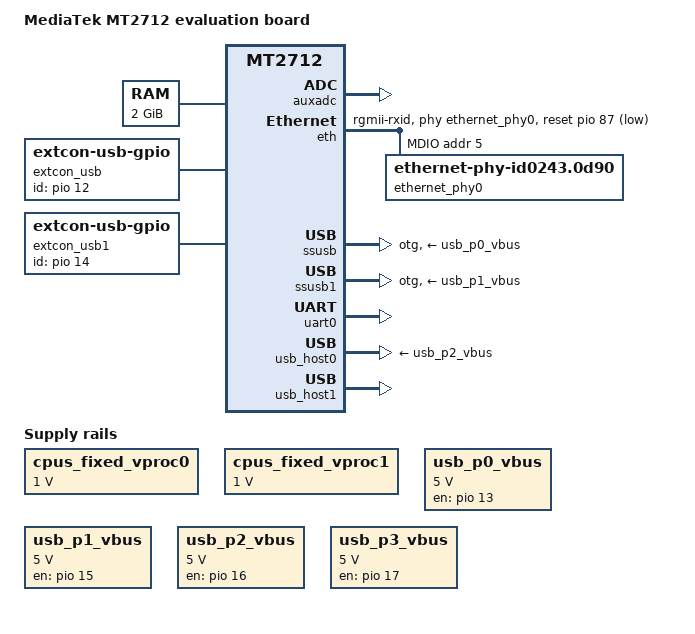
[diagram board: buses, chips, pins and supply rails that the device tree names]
/*
 * Copyright (c) 2017 MediaTek Inc.
 * Author: YT Shen <yt.shen@mediatek.com>
 *
 * SPDX-License-Identifier: (GPL-2.0 OR MIT)
 */

/dts-v1/;
#include <dt-bindings/gpio/gpio.h>
#include "mt2712e.dtsi"

/ {
	model = "MediaTek MT2712 evaluation board";
	compatible = "mediatek,mt2712-evb", "mediatek,mt2712";

	aliases {
		serial0 = &uart0;
	};

	memory@40000000 {
		device_type = "memory";
		reg = <0 0x40000000 0 0x80000000>;
	};

	chosen {
		stdout-path = "serial0:921600n8";
	};

	cpus_fixed_vproc0: fixedregulator@0 {
		compatible = "regulator-fixed";
		regulator-name = "vproc_buck0";
		regulator-min-microvolt = <1000000>;
		regulator-max-microvolt = <1000000>;
	};

	cpus_fixed_vproc1: fixedregulator@1 {
		compatible = "regulator-fixed";
		regulator-name = "vproc_buck1";
		regulator-min-microvolt = <1000000>;
		regulator-max-microvolt = <1000000>;
	};

	extcon_usb: extcon_iddig {
		compatible = "linux,extcon-usb-gpio";
		id-gpio = <&pio 12 GPIO_ACTIVE_HIGH>;
	};

	extcon_usb1: extcon_iddig1 {
		compatible = "linux,extcon-usb-gpio";
		id-gpio = <&pio 14 GPIO_ACTIVE_HIGH>;
	};

	usb_p0_vbus: regulator@2 {
		compatible = "regulator-fixed";
		regulator-name = "p0_vbus";
		regulator-min-microvolt = <5000000>;
		regulator-max-microvolt = <5000000>;
		gpio = <&pio 13 GPIO_ACTIVE_HIGH>;
		enable-active-high;
	};

	usb_p1_vbus: regulator@3 {
		compatible = "regulator-fixed";
		regulator-name = "p1_vbus";
		regulator-min-microvolt = <5000000>;
		regulator-max-microvolt = <5000000>;
		gpio = <&pio 15 GPIO_ACTIVE_HIGH>;
		enable-active-high;
	};

	usb_p2_vbus: regulator@4 {
		compatible = "regulator-fixed";
		regulator-name = "p2_vbus";
		regulator-min-microvolt = <5000000>;
		regulator-max-microvolt = <5000000>;
		gpio = <&pio 16 GPIO_ACTIVE_HIGH>;
		enable-active-high;
	};

	usb_p3_vbus: regulator@5 {
		compatible = "regulator-fixed";
		regulator-name = "p3_vbus";
		regulator-min-microvolt = <5000000>;
		regulator-max-microvolt = <5000000>;
		gpio = <&pio 17 GPIO_ACTIVE_HIGH>;
		enable-active-high;
		regulator-always-on;
	};

};

&auxadc {
	status = "okay";
};

&cpu0 {
	proc-supply = <&cpus_fixed_vproc0>;
};

&cpu1 {
	proc-supply = <&cpus_fixed_vproc0>;
};

&cpu2 {
	proc-supply = <&cpus_fixed_vproc1>;
};

&eth {
	phy-mode = "rgmii-rxid";
	phy-handle = <&ethernet_phy0>;
	mediatek,tx-delay-ps = <1530>;
	snps,reset-gpio = <&pio 87 GPIO_ACTIVE_LOW>;
	snps,reset-delays-us = <0 10000 10000>;
	pinctrl-names = "default", "sleep";
	pinctrl-0 = <&eth_default>;
	pinctrl-1 = <&eth_sleep>;
	status = "okay";

	mdio {
		compatible = "snps,dwmac-mdio";
		#address-cells = <1>;
		#size-cells = <0>;
		ethernet_phy0: ethernet-phy@5 {
			compatible = "ethernet-phy-id0243.0d90";
			reg = <0x5>;
		};
	};
};

&pio {
	eth_default: eth_default {
		tx_pins {
			pinmux = <MT2712_PIN_71_GBE_TXD3__FUNC_GBE_TXD3>,
				 <MT2712_PIN_72_GBE_TXD2__FUNC_GBE_TXD2>,
				 <MT2712_PIN_73_GBE_TXD1__FUNC_GBE_TXD1>,
				 <MT2712_PIN_74_GBE_TXD0__FUNC_GBE_TXD0>,
				 <MT2712_PIN_75_GBE_TXC__FUNC_GBE_TXC>,
				 <MT2712_PIN_76_GBE_TXEN__FUNC_GBE_TXEN>;
			drive-strength = <MTK_DRIVE_8mA>;
		};
		rx_pins {
			pinmux = <MT2712_PIN_78_GBE_RXD3__FUNC_GBE_RXD3>,
				 <MT2712_PIN_79_GBE_RXD2__FUNC_GBE_RXD2>,
				 <MT2712_PIN_80_GBE_RXD1__FUNC_GBE_RXD1>,
				 <MT2712_PIN_81_GBE_RXD0__FUNC_GBE_RXD0>,
				 <MT2712_PIN_82_GBE_RXDV__FUNC_GBE_RXDV>,
				 <MT2712_PIN_84_GBE_RXC__FUNC_GBE_RXC>;
			input-enable;
		};
		mdio_pins {
			pinmux = <MT2712_PIN_85_GBE_MDC__FUNC_GBE_MDC>,
				 <MT2712_PIN_86_GBE_MDIO__FUNC_GBE_MDIO>;
			drive-strength = <MTK_DRIVE_8mA>;
			input-enable;
		};
	};

	eth_sleep: eth_sleep {
		tx_pins {
			pinmux = <MT2712_PIN_71_GBE_TXD3__FUNC_GPIO71>,
				 <MT2712_PIN_72_GBE_TXD2__FUNC_GPIO72>,
				 <MT2712_PIN_73_GBE_TXD1__FUNC_GPIO73>,
				 <MT2712_PIN_74_GBE_TXD0__FUNC_GPIO74>,
				 <MT2712_PIN_75_GBE_TXC__FUNC_GPIO75>,
				 <MT2712_PIN_76_GBE_TXEN__FUNC_GPIO76>;
		};
		rx_pins {
			pinmux = <MT2712_PIN_78_GBE_RXD3__FUNC_GPIO78>,
				 <MT2712_PIN_79_GBE_RXD2__FUNC_GPIO79>,
				 <MT2712_PIN_80_GBE_RXD1__FUNC_GPIO80>,
				 <MT2712_PIN_81_GBE_RXD0__FUNC_GPIO81>,
				 <MT2712_PIN_82_GBE_RXDV__FUNC_GPIO82>,
				 <MT2712_PIN_84_GBE_RXC__FUNC_GPIO84>;
			input-disable;
		};
		mdio_pins {
			pinmux = <MT2712_PIN_85_GBE_MDC__FUNC_GPIO85>,
				 <MT2712_PIN_86_GBE_MDIO__FUNC_GPIO86>;
			input-disable;
			bias-disable;
		};
	};

	usb0_id_pins_float: usb0_iddig {
		pins_iddig {
			pinmux = <MT2712_PIN_12_IDDIG_P0__FUNC_IDDIG_A>;
			bias-pull-up;
		};
	};

	usb1_id_pins_float: usb1_iddig {
		pins_iddig {
			pinmux = <MT2712_PIN_14_IDDIG_P1__FUNC_IDDIG_B>;
			bias-pull-up;
		};
	};
};

&ssusb {
	vbus-supply = <&usb_p0_vbus>;
	extcon = <&extcon_usb>;
	dr_mode = "otg";
	wakeup-source;
	mediatek,u3p-dis-msk = <0x1>;
	//enable-manual-drd;
	//maximum-speed = "full-speed";
	pinctrl-names = "default";
	pinctrl-0 = <&usb0_id_pins_float>;
	status = "okay";
};

&ssusb1 {
	vbus-supply = <&usb_p1_vbus>;
	extcon = <&extcon_usb1>;
	dr_mode = "otg";
	//mediatek,u3p-dis-msk = <0x1>;
	enable-manual-drd;
	wakeup-source;
	//maximum-speed = "full-speed";
	pinctrl-names = "default";
	pinctrl-0 = <&usb1_id_pins_float>;
	status = "okay";
};

&uart0 {
	status = "okay";
};

&usb_host0 {
	vbus-supply = <&usb_p2_vbus>;
	status = "okay";
};

&usb_host1 {
	status = "okay";
};
